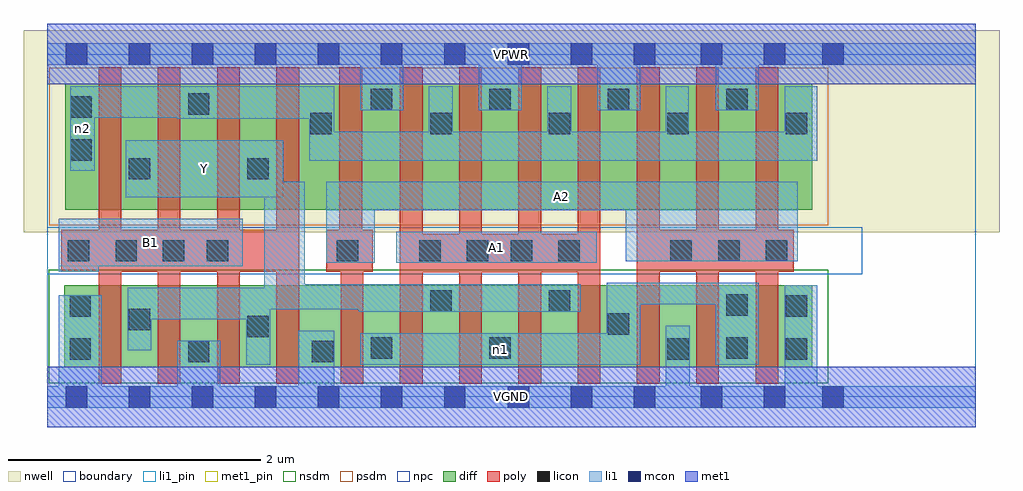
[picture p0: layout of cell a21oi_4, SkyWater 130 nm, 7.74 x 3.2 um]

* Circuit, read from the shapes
.subckt a21oi_4 A1 A2 B1 VGND VPWR Y n1 n2
XM1 Y B1 VGND VSUBS sky130_fd_pr__nfet_01v8 w=0.65 l=0.18 m=4
XM2 n1 A2 VGND VSUBS sky130_fd_pr__nfet_01v8 w=0.65 l=0.18 m=4
XM3 Y A1 n1 VSUBS sky130_fd_pr__nfet_01v8 w=0.65 l=0.18 m=4
XM4 Y B1 n2 n3 sky130_fd_pr__pfet_01v8 w=1 l=0.18 m=4
XM5 VPWR A2 n2 n3 sky130_fd_pr__pfet_01v8 w=1 l=0.18 m=4
XM6 n2 A1 VPWR n3 sky130_fd_pr__pfet_01v8 w=1 l=0.18 m=4
.ends

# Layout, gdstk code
import gdstk
lib = gdstk.Library(unit=1e-6, precision=1e-09)
def R(c, l, rs):  # rectangles x0, y0, x1, y1
    for r in rs: c.add(gdstk.rectangle(r[:2], r[2:], *l))
def A(c, l, x, y, w, h, nx, ny, dx, dy):  # array of equal rectangles
    R(c, l, [(x+i*dx, y+j*dy, x+i*dx+w, y+j*dy+h) for i in range(nx) for j in range(ny)])
nwell = (64, 20)
diff = (65, 20)
poly = (66, 20)
licon = (66, 44)
li1_pin = (67, 16)
li1 = (67, 20)
mcon = (67, 44)
met1_pin = (68, 16)
met1 = (68, 20)
nsdm = (93, 44)
psdm = (94, 20)
npc = (95, 20)
boundary = (235, 4)

a21oi_4 = lib.new_cell('a21oi_4')
R(a21oi_4, nwell, [(-0.19,1.305,7.55,2.91), (0,1.305,7.36,2.91)])
R(a21oi_4, diff, [(0.135,0.235,6.065,0.885), (0.14,1.485,6.065,2.485)])
A(a21oi_4, poly, 0.405, 0.105, 0.18, 2.51, 4, 1, 0.47, 0)
A(a21oi_4, poly, 2.795, 0.105, 0.18, 2.51, 7, 1, 0.47, 0)
R(a21oi_4, poly, [(2.325,0.105,2.505,1.325), (2.795,0.99,4.385,1.295), (0.11,0.995,1.995,1.325), (2.21,0.995,2.58,1.325), (2.315,0.995,2.495,2.615), (4.675,0.995,5.92,1.325)])
A(a21oi_4, licon, 3.035, 2.085, 0.17, 0.17, 4, 1, 0.94, 0)
A(a21oi_4, licon, 2.565, 2.275, 0.17, 0.17, 4, 1, 0.94, 0)
R(a21oi_4, licon, [(1.115,0.275,1.285,0.445), (2.095,0.275,2.265,0.445), (0.175,0.295,0.345,0.465), (4.915,0.295,5.085,0.465), (5.855,0.295,6.025,0.465), (2.565,0.305,2.735,0.475), (3.505,0.305,3.675,0.475), (5.385,0.305,5.555,0.475), (1.585,0.475,1.755,0.645), (4.445,0.495,4.615,0.665), (0.645,0.53,0.815,0.7), (0.175,0.635,0.345,0.805), (5.855,0.635,6.025,0.805), (5.385,0.645,5.555,0.815), (3.035,0.675,3.205,0.845), (3.975,0.675,4.145,0.845), (0.16,1.075,0.33,1.245), (0.54,1.075,0.71,1.245), (0.915,1.075,1.085,1.245), (1.265,1.075,1.435,1.245), (2.295,1.075,2.465,1.245), (2.95,1.075,3.12,1.245), (3.325,1.075,3.495,1.245), (3.675,1.075,3.845,1.245), (4.05,1.075,4.22,1.245), (4.94,1.075,5.11,1.245), (5.32,1.075,5.49,1.245), (5.695,1.075,5.865,1.245), (0.645,1.725,0.815,1.895), (1.585,1.725,1.755,1.895), (0.18,1.875,0.35,2.045), (2.085,2.085,2.255,2.255), (0.18,2.215,0.35,2.385), (1.115,2.24,1.285,2.41)])
R(a21oi_4, li1_pin, [(0.09,1.035,1.55,1.415), (2.765,1.065,4.355,1.31), (2.21,1.48,5.95,1.705), (0.62,1.585,1.87,2.035)])
A(a21oi_4, li1, 2.48, 2.275, 0.34, 0.53, 4, 1, 0.94, 0)
R(a21oi_4, li1, [(0,-0.085,7.36,0.085), (0.09,-0.085,0.43,0.805), (1.03,-0.085,1.37,0.445), (1.99,-0.085,2.275,0.525), (4.905,-0.085,5.095,0.565), (5.845,-0.085,6.105,0.885), (1.575,0.255,1.765,0.865), (2.48,0.255,4.7,0.505), (4.435,0.255,4.7,0.905), (5.3,0.255,5.64,0.905), (0.635,0.37,0.825,0.865), (0.635,0.615,1.765,0.865), (2.47,0.675,4.23,0.895), (1.72,0.695,4.23,0.895), (4.435,0.735,5.64,0.905), (1.72,0.895,2.04,1.705), (0.09,0.995,0.405,1.415), (0.09,1.035,1.55,1.415), (2.21,1.065,2.595,1.705), (2.765,1.065,4.355,1.31), (4.585,1.075,5.95,1.705), (2.21,1.48,5.95,1.705), (0.62,1.585,1.87,2.035), (0.18,1.795,0.375,2.465), (2.075,1.875,6.105,2.105), (2.075,1.875,2.275,2.465), (3.025,1.875,3.215,2.465), (3.965,1.875,4.155,2.465), (4.905,1.875,5.085,2.465), (5.845,1.875,6.105,2.465), (1.03,2.205,2.275,2.465), (0.18,2.215,2.275,2.465), (0,2.635,7.36,2.805)])
A(a21oi_4, mcon, 0.145, -0.085, 0.17, 0.17, 7, 2, 0.5, 2.72)
A(a21oi_4, mcon, 3.65, -0.085, 0.17, 0.17, 3, 2, 0.5, 2.72)
R(a21oi_4, mcon, [(5.18,-0.085,5.35,0.085), (5.68,-0.085,5.85,0.085), (6.145,-0.085,6.315,0.085), (5.18,2.635,5.35,2.805), (5.68,2.635,5.85,2.805), (6.145,2.635,6.315,2.805)])
R(a21oi_4, met1_pin, [(0,-0.24,7.36,0.24), (0,2.48,7.36,2.96)])
R(a21oi_4, met1, [(0,-0.24,7.36,0.24), (0,2.48,7.36,2.96)])
R(a21oi_4, nsdm, [(0.01,0.11,6.19,1.01)])
R(a21oi_4, psdm, [(0.015,1.36,6.19,2.61)])
R(a21oi_4, npc, [(0,0.975,6.46,1.345)])
R(a21oi_4, boundary, [(0,0,7.36,2.72)])
a21oi_4.add(gdstk.Label('A1', (3.56,1.187), layer=67, texttype=5))
a21oi_4.add(gdstk.Label('A2', (4.08,1.592), layer=67, texttype=5))
a21oi_4.add(gdstk.Label('B1', (0.82,1.225), layer=67, texttype=5))
a21oi_4.add(gdstk.Label('Y', (1.245,1.81), layer=67, texttype=5))
a21oi_4.add(gdstk.Label('n1', (3.59,0.38), layer=67, texttype=5))
a21oi_4.add(gdstk.Label('n2', (0.277,2.13), layer=67, texttype=5))
a21oi_4.add(gdstk.Label('VPWR', (3.68,2.72), layer=68, texttype=5))
a21oi_4.add(gdstk.Label('VGND', (3.68,0), layer=68, texttype=5))
a21oi_4.add(gdstk.Label('A1', (3.56,1.187), layer=67, texttype=16))
a21oi_4.add(gdstk.Label('A2', (4.08,1.592), layer=67, texttype=16))
a21oi_4.add(gdstk.Label('B1', (0.82,1.225), layer=67, texttype=16))
a21oi_4.add(gdstk.Label('Y', (1.245,1.81), layer=67, texttype=16))
a21oi_4.add(gdstk.Label('VPWR', (3.68,2.72), layer=68, texttype=16))
a21oi_4.add(gdstk.Label('VGND', (3.68,0), layer=68, texttype=16))

lib.write_gds('a21oi_4.gds')
